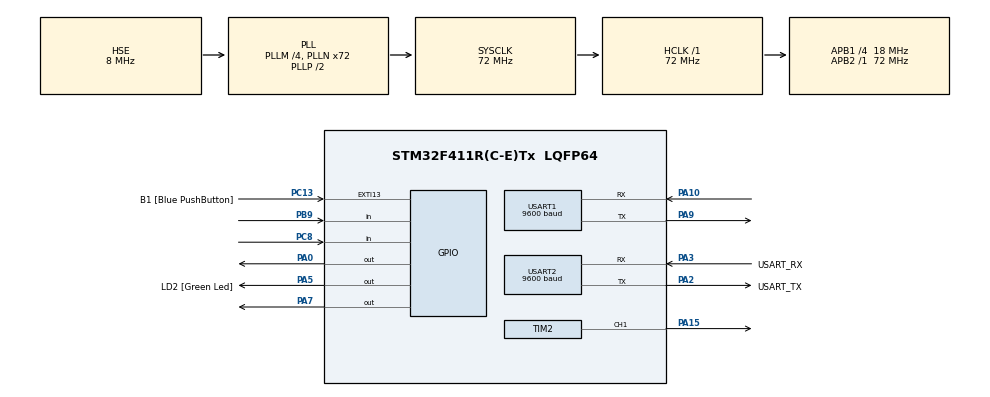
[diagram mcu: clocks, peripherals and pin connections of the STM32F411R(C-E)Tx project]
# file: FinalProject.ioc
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FREERTOS.Mutexes01=mutex1,Dynamic,NULL
FREERTOS.Tasks01=defaultTask,8,128,StartDefaultTask,Default,NULL,Dynamic,NULL,NULL;weight,24,512,weightThread,Default,NULL,Dynamic,NULL,NULL;sensor,24,128,infraredSensor,Default,NULL,Dynamic,NULL,NULL;WiFi,8,256,WiFiHandler,Default,NULL,Dynamic,NULL,NULL
FREERTOS.Timers01=myTimer01,Callback01,osTimerPeriodic,Default,NULL,Dynamic,NULL
Mcu.Family=STM32F4
Mcu.Name=STM32F411R(C-E)Tx
Mcu.Package=LQFP64
NVIC.PriorityGroup=NVIC_PRIORITYGROUP_4
NVIC.USART1_IRQn=true\:5\:0\:false\:false\:true\:true\:true\:true
NVIC.USART2_IRQn=true\:5\:0\:false\:false\:true\:true\:true\:true
PA0-WKUP.Signal=GPIO_Output
PA10.Mode=Asynchronous
PA10.Signal=USART1_RX
PA13.GPIO_Label=TMS
PA13.Mode=Serial_Wire
PA13.Signal=SYS_JTMS-SWDIO
PA14.GPIO_Label=TCK
PA14.Mode=Serial_Wire
PA14.Signal=SYS_JTCK-SWCLK
PA15.Signal=S_TIM2_CH1_ETR
PA2.GPIO_Label=USART_TX
PA2.Mode=Asynchronous
PA2.Signal=USART2_TX
PA3.GPIO_Label=USART_RX
PA3.Mode=Asynchronous
PA3.Signal=USART2_RX
PA5.GPIO_Label=LD2 [Green Led]
PA5.Signal=GPIO_Output
PA7.Signal=GPIO_Output
PA9.Mode=Asynchronous
PA9.Signal=USART1_TX
PB3.GPIO_Label=SWO
PB3.Signal=SYS_JTDO-SWO
PB9.GPIO_PuPd=GPIO_PULLDOWN
PB9.Signal=GPIO_Input
PC13-ANTI_TAMP.GPIO_Label=B1 [Blue PushButton]
PC13-ANTI_TAMP.GPIO_ModeDefaultEXTI=GPIO_MODE_IT_FALLING
PC13-ANTI_TAMP.Signal=GPXTI13
PC14-OSC32_IN.Signal=RCC_OSC32_IN
PC15-OSC32_OUT.Signal=RCC_OSC32_OUT
PC8.Signal=GPIO_Input
PH0\ -\ OSC_IN.Mode=HSE-External-Oscillator
PH0\ -\ OSC_IN.Signal=RCC_OSC_IN
PH1\ -\ OSC_OUT.Mode=HSE-External-Oscillator
PH1\ -\ OSC_OUT.Signal=RCC_OSC_OUT
ProjectManager.HeapSize=0x200
ProjectManager.StackSize=0x400
ProjectManager.TargetToolchain=STM32CubeIDE
RCC.48MHZClocksFreq_Value=36000000
RCC.AHBFreq_Value=72000000
RCC.APB1CLKDivider=RCC_HCLK_DIV4
RCC.APB1Freq_Value=18000000
RCC.APB1TimFreq_Value=36000000
RCC.APB2Freq_Value=72000000
RCC.APB2TimFreq_Value=72000000
RCC.CortexFreq_Value=72000000
RCC.FLatency-AdvancedSettings=FLASH_LATENCY_2
RCC.HCLKFreq_Value=72000000
RCC.HSE_VALUE=8000000
RCC.HSI_VALUE=16000000
RCC.LSE_VALUE=32768
RCC.PLLM=4
RCC.PLLN=72
RCC.PLLSourceVirtual=RCC_PLLSOURCE_HSE
RCC.SYSCLKFreq_VALUE=72000000
RCC.SYSCLKSource=RCC_SYSCLKSOURCE_PLLCLK
RCC.VCOOutputFreq_Value=144000000
SH.S_TIM2_CH1_ETR.0=TIM2_CH1,PWM Generation1 CH1
TIM2.Channel-PWM\ Generation1\ CH1=TIM_CHANNEL_1
TIM2.Period=999
TIM2.Prescaler=720-1
USART1.BaudRate=9600
USART1.VirtualMode=VM_ASYNC
USART2.BaudRate=9600
USART2.VirtualMode=VM_ASYNC
VP_FREERTOS_VS_CMSIS_V2.Mode=CMSIS_V2
VP_TIM2_VS_ClockSourceINT.Mode=Internal
board=NUCLEO-F411RE

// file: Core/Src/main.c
/* USER CODE BEGIN Header */
/**
  ******************************************************************************
  * @file           : main.c
  * @brief          : Main program body
  ******************************************************************************
  * @attention
  *
  * Copyright (c) 2022 STMicroelectronics.
  * All rights reserved.
  *
  * This software is licensed under terms that can be found in the LICENSE file
  * in the root directory of this software component.
  * If no LICENSE file comes with this software, it is provided AS-IS.
  *
  ******************************************************************************
  */
/* USER CODE END Header */
#include "main.h"
#include "cmsis_os.h"

/* USER CODE BEGIN Includes */
#include "hx711.h"
/* USER CODE END Includes */

/* USER CODE BEGIN PTD */
char bufferw[50];
/* USER CODE END PTD */

/* USER CODE BEGIN PM */

extern void Uart_isr(UART_HandleTypeDef* huart);

/* USER CODE END PM */

TIM_HandleTypeDef htim2;

UART_HandleTypeDef huart1;
UART_HandleTypeDef huart2;

/* Definitions for defaultTask */
osThreadId_t defaultTaskHandle;
const osThreadAttr_t defaultTask_attributes = {
  .name = "defaultTask",
  .stack_size = 128 * 4,
  .priority = (osPriority_t) osPriorityLow,
};
/* Definitions for weight */
osThreadId_t weightHandle;
const osThreadAttr_t weight_attributes = {
  .name = "weight",
  .stack_size = 512 * 4,
  .priority = (osPriority_t) osPriorityNormal,
};
/* Definitions for sensor */
osThreadId_t sensorHandle;
const osThreadAttr_t sensor_attributes = {
  .name = "sensor",
  .stack_size = 128 * 4,
  .priority = (osPriority_t) osPriorityNormal,
};
/* Definitions for WiFi */
osThreadId_t WiFiHandle;
const osThreadAttr_t WiFi_attributes = {
  .name = "WiFi",
  .stack_size = 256 * 4,
  .priority = (osPriority_t) osPriorityLow,
};
/* Definitions for myTimer01 */
osTimerId_t myTimer01Handle;
const osTimerAttr_t myTimer01_attributes = {
  .name = "myTimer01"
};
/* Definitions for mutex1 */
osMutexId_t mutex1Handle;
const osMutexAttr_t mutex1_attributes = {
  .name = "mutex1"
};

void SystemClock_Config(void);
static void MX_GPIO_Init(void);
static void MX_USART2_UART_Init(void);
static void MX_USART1_UART_Init(void);
static void MX_TIM2_Init(void);
void StartDefaultTask(void *argument);
void weightThread(void *argument);
void infraredSensor(void *argument);
void WiFiHandler(void *argument);
void Callback01(void *argument);

/* USER CODE BEGIN 0 */
hx711_t hx711t;

/* USER CODE END 0 */

int main(void)
{

  /* MCU Configuration--------------------------------------------------------*/

  /* Reset of all peripherals, Initializes the Flash interface and the Systick. */
  HAL_Init();

  /* Configure the system clock */
  SystemClock_Config();

  /* Initialize all configured peripherals */
  MX_GPIO_Init();
  MX_USART2_UART_Init();
  MX_USART1_UART_Init();
  MX_TIM2_Init();
  /* USER CODE BEGIN 2 */

  HAL_TIM_PWM_Start(&htim2, TIM_CHANNEL_1);
  /* USER CODE END 2 */

  /* Init scheduler */
  osKernelInitialize();
  /* Create the mutex(es) */
  /* creation of mutex1 */
  mutex1Handle = osMutexNew(&mutex1_attributes);

  /* Create the timer(s) */
  /* creation of myTimer01 */
  myTimer01Handle = osTimerNew(Callback01, osTimerPeriodic, NULL, &myTimer01_attributes);

  /* Create the thread(s) */
  /* creation of defaultTask */
  defaultTaskHandle = osThreadNew(StartDefaultTask, NULL, &defaultTask_attributes);

  /* creation of weight */
  weightHandle = osThreadNew(weightThread, NULL, &weight_attributes);

  /* creation of sensor */
  sensorHandle = osThreadNew(infraredSensor, NULL, &sensor_attributes);

  /* creation of WiFi */
  WiFiHandle = osThreadNew(WiFiHandler, NULL, &WiFi_attributes);

  /* Start scheduler */
  osKernelStart();

  /* We should never get here as control is now taken by the scheduler */
  /* Infinite loop */
  while (1)
  {

  }
}

void SystemClock_Config(void)
{
  RCC_OscInitTypeDef RCC_OscInitStruct = {0};
  RCC_ClkInitTypeDef RCC_ClkInitStruct = {0};

  /** Configure the main internal regulator output voltage
  */
  __HAL_RCC_PWR_CLK_ENABLE();
  __HAL_PWR_VOLTAGESCALING_CONFIG(PWR_REGULATOR_VOLTAGE_SCALE1);
  /** Initializes the RCC Oscillators according to the specified parameters
  * in the RCC_OscInitTypeDef structure.
  */
  RCC_OscInitStruct.OscillatorType = RCC_OSCILLATORTYPE_HSE;
  RCC_OscInitStruct.HSEState = RCC_HSE_ON;
  RCC_OscInitStruct.PLL.PLLState = RCC_PLL_ON;
  RCC_OscInitStruct.PLL.PLLSource = RCC_PLLSOURCE_HSE;
  RCC_OscInitStruct.PLL.PLLM = 4;
  RCC_OscInitStruct.PLL.PLLN = 72;
  RCC_OscInitStruct.PLL.PLLP = RCC_PLLP_DIV2;
  RCC_OscInitStruct.PLL.PLLQ = 4;
  if (HAL_RCC_OscConfig(&RCC_OscInitStruct) != HAL_OK)
  {
    Error_Handler();
  }
  /** Initializes the CPU, AHB and APB buses clocks
  */
  RCC_ClkInitStruct.ClockType = RCC_CLOCKTYPE_HCLK|RCC_CLOCKTYPE_SYSCLK
                              |RCC_CLOCKTYPE_PCLK1|RCC_CLOCKTYPE_PCLK2;
  RCC_ClkInitStruct.SYSCLKSource = RCC_SYSCLKSOURCE_PLLCLK;
  RCC_ClkInitStruct.AHBCLKDivider = RCC_SYSCLK_DIV1;
  RCC_ClkInitStruct.APB1CLKDivider = RCC_HCLK_DIV4;
  RCC_ClkInitStruct.APB2CLKDivider = RCC_HCLK_DIV1;

  if (HAL_RCC_ClockConfig(&RCC_ClkInitStruct, FLASH_LATENCY_2) != HAL_OK)
  {
    Error_Handler();
  }
}

static void MX_TIM2_Init(void)
{

  TIM_ClockConfigTypeDef sClockSourceConfig = {0};
  TIM_MasterConfigTypeDef sMasterConfig = {0};
  TIM_OC_InitTypeDef sConfigOC = {0};

  htim2.Instance = TIM2;
  htim2.Init.Prescaler = 720-1;
  htim2.Init.CounterMode = TIM_COUNTERMODE_UP;
  htim2.Init.Period = 999;
  htim2.Init.ClockDivision = TIM_CLOCKDIVISION_DIV1;
  htim2.Init.AutoReloadPreload = TIM_AUTORELOAD_PRELOAD_DISABLE;
  if (HAL_TIM_Base_Init(&htim2) != HAL_OK)
  {
    Error_Handler();
  }
  sClockSourceConfig.ClockSource = TIM_CLOCKSOURCE_INTERNAL;
  if (HAL_TIM_ConfigClockSource(&htim2, &sClockSourceConfig) != HAL_OK)
  {
    Error_Handler();
  }
  if (HAL_TIM_PWM_Init(&htim2) != HAL_OK)
  {
    Error_Handler();
  }
  sMasterConfig.MasterOutputTrigger = TIM_TRGO_RESET;
  sMasterConfig.MasterSlaveMode = TIM_MASTERSLAVEMODE_DISABLE;
  if (HAL_TIMEx_MasterConfigSynchronization(&htim2, &sMasterConfig) != HAL_OK)
  {
    Error_Handler();
  }
  sConfigOC.OCMode = TIM_OCMODE_PWM1;
  sConfigOC.Pulse = 0;
  sConfigOC.OCPolarity = TIM_OCPOLARITY_HIGH;
  sConfigOC.OCFastMode = TIM_OCFAST_DISABLE;
  if (HAL_TIM_PWM_ConfigChannel(&htim2, &sConfigOC, TIM_CHANNEL_1) != HAL_OK)
  {
    Error_Handler();
  }
  HAL_TIM_MspPostInit(&htim2);

}

static void MX_USART1_UART_Init(void)
{

  huart1.Instance = USART1;
  huart1.Init.BaudRate = 9600;
  huart1.Init.WordLength = UART_WORDLENGTH_8B;
  huart1.Init.StopBits = UART_STOPBITS_1;
  huart1.Init.Parity = UART_PARITY_NONE;
  huart1.Init.Mode = UART_MODE_TX_RX;
  huart1.Init.HwFlowCtl = UART_HWCONTROL_NONE;
  huart1.Init.OverSampling = UART_OVERSAMPLING_16;
  if (HAL_UART_Init(&huart1) != HAL_OK)
  {
    Error_Handler();
  }

}

static void MX_USART2_UART_Init(void)
{

  huart2.Instance = USART2;
  huart2.Init.BaudRate = 9600;
  huart2.Init.WordLength = UART_WORDLENGTH_8B;
  huart2.Init.StopBits = UART_STOPBITS_1;
  huart2.Init.Parity = UART_PARITY_NONE;
  huart2.Init.Mode = UART_MODE_TX_RX;
  huart2.Init.HwFlowCtl = UART_HWCONTROL_NONE;
  huart2.Init.OverSampling = UART_OVERSAMPLING_16;
  if (HAL_UART_Init(&huart2) != HAL_OK)
  {
    Error_Handler();
  }

}

static void MX_GPIO_Init(void)
{
  GPIO_InitTypeDef GPIO_InitStruct = {0};

  /* GPIO Ports Clock Enable */
  __HAL_RCC_GPIOC_CLK_ENABLE();
  __HAL_RCC_GPIOH_CLK_ENABLE();
  __HAL_RCC_GPIOA_CLK_ENABLE();
  __HAL_RCC_GPIOB_CLK_ENABLE();

  /*Configure GPIO pin Output Level */
  HAL_GPIO_WritePin(GPIOA, GPIO_PIN_0|LD2_Pin|GPIO_PIN_7, GPIO_PIN_RESET);

  /*Configure GPIO pin : B1_Pin */
  GPIO_InitStruct.Pin = B1_Pin;
  GPIO_InitStruct.Mode = GPIO_MODE_IT_FALLING;
  GPIO_InitStruct.Pull = GPIO_NOPULL;
  HAL_GPIO_Init(B1_GPIO_Port, &GPIO_InitStruct);

  /*Configure GPIO pins : PA0 LD2_Pin PA7 */
  GPIO_InitStruct.Pin = GPIO_PIN_0|LD2_Pin|GPIO_PIN_7;
  GPIO_InitStruct.Mode = GPIO_MODE_OUTPUT_PP;
  GPIO_InitStruct.Pull = GPIO_NOPULL;
  GPIO_InitStruct.Speed = GPIO_SPEED_FREQ_LOW;
  HAL_GPIO_Init(GPIOA, &GPIO_InitStruct);

  /*Configure GPIO pin : PC8 */
  GPIO_InitStruct.Pin = GPIO_PIN_8;
  GPIO_InitStruct.Mode = GPIO_MODE_INPUT;
  GPIO_InitStruct.Pull = GPIO_NOPULL;
  HAL_GPIO_Init(GPIOC, &GPIO_InitStruct);

  /*Configure GPIO pin : PB9 */
  GPIO_InitStruct.Pin = GPIO_PIN_9;
  GPIO_InitStruct.Mode = GPIO_MODE_INPUT;
  GPIO_InitStruct.Pull = GPIO_PULLDOWN;
  HAL_GPIO_Init(GPIOB, &GPIO_InitStruct);

}

void StartDefaultTask(void *argument)
{
  for(;;)
  {
    osDelay(1);
  }
}

/* USER CODE BEGIN Header_weightThread */
/**
* @brief Function implementing the weight thread.
* @param argument: Not used
* @retval None
*/

#define MIN_BOUND 5.0
#define N_WEIGH 5

float get_weight(hx711_t *loadcell)
{
	float w = 0;
	for (int i = 0; i < N_WEIGH; i++)
	{
		w += hx711_weight(&hx711t, 10);
		osDelay(25);
	}
	w = w/N_WEIGH;
	if (w < MIN_BOUND)
	{
		return 0;
	}
	return w;
}
/* USER CODE END Header_weightThread */
void weightThread(void *argument)
{
  /* USER CODE BEGIN weightThread */
  /* Infinite loop */

	hx711_init(&hx711t, GPIOA, GPIO_PIN_0, GPIOC, GPIO_PIN_8);
	hx711_coef_set(&hx711t, 411.5); // read afer calibration
	hx711_tare(&hx711t, 10);
  for(;;)
  {
	  float weight = get_weight(&hx711t);
	  sprintf(bufferw, "%f", weight);
	  int len = strlen(bufferw);
	  HAL_UART_Transmit(&huart2, bufferw, len, HAL_MAX_DELAY);
	  HAL_UART_Transmit(&huart1, bufferw, len, HAL_MAX_DELAY);
	  osDelay(1000);
  }
  /* USER CODE END weightThread */
}

void infraredSensor(void *argument)
{
  /* USER CODE BEGIN infraredSensor */
  /* Infinite loop */
	htim2.Instance->CCR1 = 0;
  for(;;)
  {
	  if (HAL_GPIO_ReadPin(GPIOB, GPIO_PIN_9) == GPIO_PIN_RESET)
	  {
		  htim2.Instance->CCR1 = 35;
		  osDelay(750);
		  htim2.Instance->CCR1 = 0;
		  osDelay(3500);
		  htim2.Instance->CCR1 = 98;
		  osDelay(715);
		  htim2.Instance->CCR1 = 0;
	  }
	  osDelay(200);
  }
  /* USER CODE END infraredSensor */
}

void WiFiHandler(void *argument)
{
  /* USER CODE BEGIN WiFiHandler */
  /* Infinite loop */
	char bf[50];
  for(;;)
  {
	  char* dm = "hello\r\n";
	  HAL_UART_Transmit(&huart2, dm, strlen(dm), HAL_MAX_DELAY);
	  if (HAL_UART_Receive(&huart1, bf, sizeof(bf), HAL_MAX_DELAY) == HAL_OK)
	  {
		  HAL_UART_Transmit(&huart2, bf, strlen(bf), HAL_MAX_DELAY);
	  }
	  osDelay(1000);
  }
  /* USER CODE END WiFiHandler */
}

/* Callback01 function */
void Callback01(void *argument)
{
}

void Error_Handler(void)
{
  __disable_irq();
  while (1)
  {
  }
}
